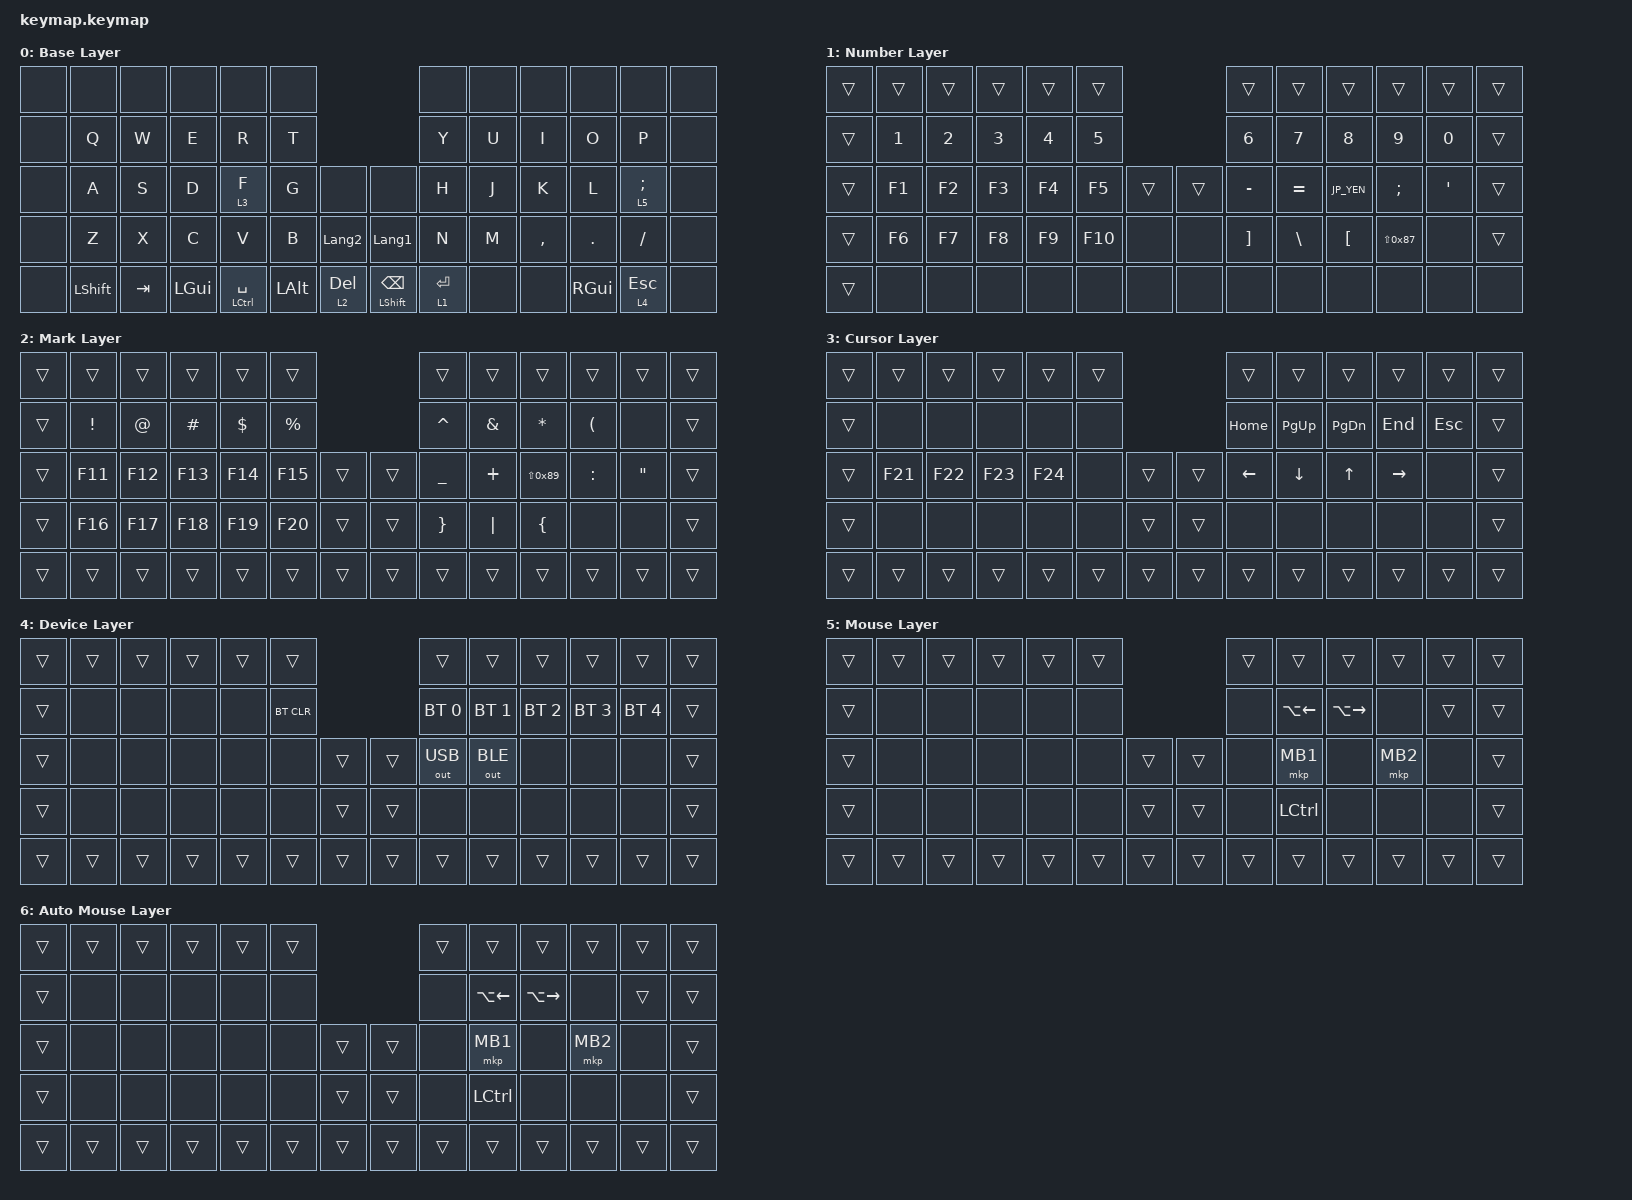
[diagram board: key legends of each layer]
#include <behaviors.dtsi>
#include <dt-bindings/zmk/bt.h>
#include <dt-bindings/zmk/keys.h>
#include <dt-bindings/zmk/outputs.h>
#include <dt-bindings/zmk/pointing.h>

// OS設定を日本語キーボードのまま使用するための変換定義

#define JP_DQUOTE       AT                // "
#define JP_AMPERSAND    CARET             // &
#define JP_QUOTE        AMPERSAND         // '
#define JP_EQUAL        UNDER             // =
#define JP_CARET        EQUAL             // ^
#define JP_YEN          0x89              // ¥
#define JP_PLUS         COLON             // +
#define JP_TILDE        PLUS              // ~
#define JP_PIPE         LS(0x89)          // |
#define JP_AT           LEFT_BRACKET      // @
#define JP_COLON        SINGLE_QUOTE      // :
#define JP_ASTERISK     DOUBLE_QUOTES     // *
#define JP_BACKQUOTE    LEFT_BRACE        // `
#define JP_UNDERSCORE   LS(0x87)          // _
#define JP_LBRACKET     RIGHT_BRACKET     // [
#define JP_RBRACKET     BACKSLASH         // ]
#define JP_LPAREN       ASTERISK          // (
#define JP_RPAREN       LEFT_PARENTHESIS  // )
#define JP_LBRACE       RIGHT_BRACE       // {
#define JP_RBRACE       PIPE              // }
#define JP_KANA         LANGUAGE_1        // かな
#define JP_EISU         LANGUAGE_2        // 英数
#define JP_HANZEN       GRAVE             // 半角/全角

&mt {
    tapping-term-ms = <180>;
    flavor = "balanced";
    quick-tap-ms = <250>; 
};

&lt { quick-tap-ms = <230>; };

/ {
    combos {
        compatible = "zmk,combos";

        bt_clear {
            bindings = <&bt BT_CLR>;
            key-positions = <28 29>;
            layers = <2>;
        };
    };

    keymap {
        compatible = "zmk,keymap";

        layer_0 {
            display-name = "Base Layer";
            bindings = <
&none  &none            &none    &none     &none            &none                                           &none        &none     &none      &none     &none       &none
&none  &kp Q            &kp W    &kp E     &kp R            &kp T                                           &kp Y        &kp U     &kp I      &kp O     &kp P       &none
&none  &kp A            &kp S    &kp D     &lt 3 F          &kp G         &none        &none                &kp H        &kp J     &kp K      &kp L     &lt 5 SEMI  &none
&none  &kp Z            &kp X    &kp C     &kp V            &kp B         &kp JP_EISU  &kp JP_KANA          &kp N        &kp M     &kp COMMA  &kp DOT   &kp FSLH    &none
&none  &kp LEFT_SHIFT   &kp TAB  &kp LGUI  &mt LCTRL SPACE  &kp LEFT_ALT  &lt 2 DEL    &mt LEFT_SHIFT BSPC  &lt 1 ENTER  &none     &none      &kp RGUI  &lt 4 ESC   &none
            >;
        };

        layer_1 {
            display-name = "Number Layer";
            bindings = <
&trans  &trans  &trans  &trans     &trans     &trans                   &trans           &trans           &trans      &trans             &trans        &trans
&trans  &kp N1  &kp N2  &kp N3     &kp N4     &kp N5                   &kp N6           &kp N7           &kp N8      &kp N9             &kp N0        &trans
&trans  &kp F1  &kp F2  &kp F3     &kp F4     &kp F5   &trans  &trans  &kp MINUS        &kp JP_CARET     &kp JP_YEN  &kp SEMI           &kp JP_COLON  &trans
&trans  &kp F6  &kp F7  &kp F8     &kp F9     &kp F10  &none   &none   &kp JP_LBRACKET  &kp JP_RBRACKET  &kp JP_AT   &kp JP_UNDERSCORE  &none         &trans
&trans  &none   &none   &none      &none      &none    &none   &none   &none            &none            &none       &none              &none         &none
            >;
        };

        layer_2 {
            display-name = "Mark Layer";
            bindings = <
&trans  &trans            &trans            &trans      &trans      &trans                       &trans            &trans         &trans            &trans             &trans           &trans
&trans  &kp EXCLAMATION   &kp JP_DQUOTE     &kp HASH    &kp DOLLAR  &kp PERCENT                  &kp JP_AMPERSAND  &kp JP_QUOTE   &kp JP_LPAREN     &kp JP_RPAREN      &none            &trans
&trans  &kp F11           &kp F12           &kp F13     &kp F14     &kp F15      &trans  &trans  &kp JP_EQUAL      &kp JP_TILDE   &kp JP_PIPE       &kp JP_PLUS        &kp JP_ASTERISK  &trans
&trans  &kp F16           &kp F17           &kp F18     &kp F19     &kp F20      &trans  &trans  &kp JP_LBRACE     &kp JP_RBRACE  &kp JP_BACKQUOTE  &none              &none            &trans
&trans  &trans            &trans            &trans      &trans      &trans       &trans  &trans  &trans            &trans         &trans            &trans             &trans           &trans
            >;
        };

        layer_3 {
            display-name = "Cursor Layer";
            bindings = <
&trans  &trans   &trans   &trans        &trans        &trans                      &trans            &trans          &trans         &trans            &trans      &trans
&trans  &none    &none    &none         &none         &none                       &kp HOME          &kp PG_UP       &kp PAGE_DOWN  &kp END           &kp ESCAPE  &trans
&trans  &kp F21  &kp F22  &kp F23       &kp F24       &none       &trans  &trans  &kp LEFT_ARROW    &kp DOWN_ARROW  &kp UP_ARROW   &kp RIGHT_ARROW   &none       &trans
&trans  &none    &none    &none         &none         &none       &trans  &trans  &none             &none           &none          &none             &none       &trans
&trans  &trans   &trans   &trans        &trans        &trans      &trans  &trans  &trans            &trans          &trans         &trans            &trans      &trans
            >;
        };

        layer_4 {
            display-name = "Device Layer";
            bindings = <
&trans  &trans   &trans   &trans        &trans        &trans                      &trans            &trans          &trans         &trans            &trans        &trans
&trans  &none    &none    &none         &none         &bt BT_CLR                  &bt BT_SEL 0      &bt BT_SEL 1    &bt BT_SEL 2   &bt BT_SEL 3      &bt BT_SEL 4  &trans
&trans  &none    &none    &none         &none         &none       &trans  &trans  &out OUT_USB      &out OUT_BLE    &none          &none             &none         &trans
&trans  &none    &none    &none         &none         &none       &trans  &trans  &none             &none           &none          &none             &none         &trans
&trans  &trans   &trans   &trans        &trans        &trans      &trans  &trans  &trans            &trans          &trans         &trans            &trans        &trans
            >;
        };

        layer_5 {
            display-name = "Mouse Layer";
            bindings = <
&trans  &trans   &trans   &trans        &trans        &trans                      &trans            &trans          &trans         &trans            &trans        &trans
&trans  &none    &none    &none         &none         &none                       &none             &kp LA(LEFT)    &kp LA(RIGHT)  &none             &trans        &trans
&trans  &none    &none    &none         &none         &none       &trans  &trans  &none             &mkp MB1        &none          &mkp MB2          &none         &trans
&trans  &none    &none    &none         &none         &none       &trans  &trans  &none             &kp LCTRL       &none          &none             &none         &trans
&trans  &trans   &trans   &trans        &trans        &trans      &trans  &trans  &trans            &trans          &trans         &trans            &trans        &trans
            >;
        };

        layer_6 {
            display-name = "Auto Mouse Layer";
            bindings = <
&trans  &trans   &trans   &trans        &trans        &trans                      &trans            &trans          &trans         &trans            &trans        &trans
&trans  &none    &none    &none         &none         &none                       &none             &kp LA(LEFT)    &kp LA(RIGHT)  &none             &trans        &trans
&trans  &none    &none    &none         &none         &none       &trans  &trans  &none             &mkp MB1        &none          &mkp MB2          &none         &trans
&trans  &none    &none    &none         &none         &none       &trans  &trans  &none             &kp LCTRL       &none          &none             &none         &trans
&trans  &trans   &trans   &trans        &trans        &trans      &trans  &trans  &trans            &trans          &trans         &trans            &trans        &trans
            >;
        };
    };
};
